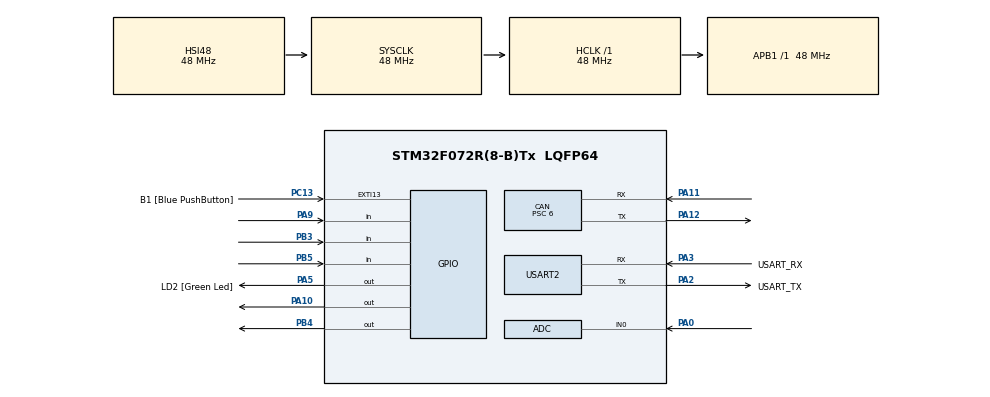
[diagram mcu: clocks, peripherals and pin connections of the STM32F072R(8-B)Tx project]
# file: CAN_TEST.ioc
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ADC.SamplingTime=ADC_SAMPLETIME_239CYCLES_5
CAN.BS1=CAN_BS1_11TQ
CAN.BS2=CAN_BS2_4TQ
CAN.CalculateBaudRate=500000
CAN.CalculateTimeBit=2000
CAN.CalculateTimeQuantum=125.0
CAN.NART=ENABLE
CAN.Prescaler=6
Mcu.Family=STM32F0
Mcu.Name=STM32F072R(8-B)Tx
Mcu.Package=LQFP64
NVIC.CEC_CAN_IRQn=true\:0\:0\:false\:false\:true\:true\:true\:true
PA0.Mode=IN0
PA0.Signal=ADC_IN0
PA10.GPIO_Speed=GPIO_SPEED_FREQ_HIGH
PA10.Signal=GPIO_Output
PA11.Mode=CAN_Activate
PA11.Signal=CAN_RX
PA12.Mode=CAN_Activate
PA12.Signal=CAN_TX
PA13.GPIO_Label=TMS
PA13.Mode=Serial_Wire
PA13.Signal=SYS_SWDIO
PA14.GPIO_Label=TCK
PA14.Mode=Serial_Wire
PA14.Signal=SYS_SWCLK
PA2.GPIO_Label=USART_TX
PA2.GPIO_Mode=GPIO_MODE_AF_PP
PA2.GPIO_PuPd=GPIO_NOPULL
PA2.GPIO_Speed=GPIO_SPEED_FREQ_LOW
PA2.Mode=Asynchronous
PA2.Signal=USART2_TX
PA3.GPIO_Label=USART_RX
PA3.GPIO_Mode=GPIO_MODE_AF_PP
PA3.GPIO_PuPd=GPIO_NOPULL
PA3.GPIO_Speed=GPIO_SPEED_FREQ_LOW
PA3.Mode=Asynchronous
PA3.Signal=USART2_RX
PA5.GPIO_Label=LD2 [Green Led]
PA5.GPIO_Mode=GPIO_MODE_OUTPUT_PP
PA5.GPIO_PuPd=GPIO_NOPULL
PA5.GPIO_Speed=GPIO_SPEED_FREQ_LOW
PA5.Signal=GPIO_Output
PA9.GPIO_PuPd=GPIO_PULLUP
PA9.Signal=GPIO_Input
PB3.Signal=GPIO_Input
PB4.GPIO_Speed=GPIO_SPEED_FREQ_HIGH
PB4.Signal=GPIO_Output
PB5.Signal=GPIO_Input
PC13.GPIO_Label=B1 [Blue PushButton]
PC13.GPIO_ModeDefaultEXTI=GPIO_MODE_IT_FALLING
PC13.Signal=GPXTI13
PC14-OSC32_IN.Mode=LSE-External-Oscillator
PC14-OSC32_IN.Signal=RCC_OSC32_IN
PC15-OSC32_OUT.Mode=LSE-External-Oscillator
PC15-OSC32_OUT.Signal=RCC_OSC32_OUT
PF0-OSC_IN.Mode=HSE-External-Clock-Source
PF0-OSC_IN.Signal=RCC_OSC_IN
PF1-OSC_OUT.Signal=RCC_OSC_OUT
ProjectManager.HeapSize=0x200
ProjectManager.StackSize=0x400
ProjectManager.TargetToolchain=MDK-ARM V5.32
RCC.AHBFreq_Value=48000000
RCC.APB1Freq_Value=48000000
RCC.APB1TimFreq_Value=48000000
RCC.FLatency-AdvancedSettings=FLASH_LATENCY_1
RCC.HCLKFreq_Value=48000000
RCC.PLLDivider=RCC_PREDIV_DIV2
RCC.PLLMUL=RCC_PLL_MUL12
RCC.PREFETCH_ENABLE-AdvancedSettings=1
RCC.SYSCLKFreq_VALUE=48000000
RCC.SYSCLKSource=RCC_SYSCLKSOURCE_HSI48
TIM1.Prescaler=47
USART2.VirtualMode=VM_ASYNC
USART2.VirtualMode-Asynchronous=VM_ASYNC
VP_TIM1_VS_ClockSourceINT.Mode=Internal
board=NUCLEO-F072RB

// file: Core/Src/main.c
/* USER CODE BEGIN Header */
/**
  ******************************************************************************
  * @file           : main.c
  * @brief          : Main program body
  ******************************************************************************
  * @attention
  *
  * Copyright (c) 2026 STMicroelectronics.
  * All rights reserved.
  *
  * This software is licensed under terms that can be found in the LICENSE file
  * in the root directory of this software component.
  * If no LICENSE file comes with this software, it is provided AS-IS.
  *
  ******************************************************************************
  */
/* USER CODE END Header */
#include "main.h"

/* USER CODE BEGIN Includes */
#include "can.h"
#include "sensor.h"
/* USER CODE END Includes */

ADC_HandleTypeDef hadc;

CAN_HandleTypeDef hcan;

TIM_HandleTypeDef htim1;

UART_HandleTypeDef huart2;

void SystemClock_Config(void);
static void MX_GPIO_Init(void);
static void MX_CAN_Init(void);
static void MX_USART2_UART_Init(void);
static void MX_ADC_Init(void);
static void MX_TIM1_Init(void);

/* USER CODE BEGIN 0 */
volatile uint16_t water_adc   = 0;
volatile uint8_t  fire_detect = 0;
volatile uint8_t  tilt_detect = 0;
volatile int32_t  distance_back = 0;
volatile int32_t  distance_side = 0;
volatile GPIO_PinState echo_pin = GPIO_PIN_RESET;
volatile uint32_t pclk_freq = 0;
volatile uint32_t tim_counter = 0;
volatile uint8_t ultra_step = 0;
/* USER CODE END 0 */

int main(void)
{

  /* MCU Configuration--------------------------------------------------------*/

  /* Reset of all peripherals, Initializes the Flash interface and the Systick. */
  HAL_Init();

  /* Configure the system clock */
  SystemClock_Config();

  /* Initialize all configured peripherals */
  MX_GPIO_Init();
  MX_CAN_Init();
  MX_USART2_UART_Init();
  MX_ADC_Init();
  MX_TIM1_Init();
  /* USER CODE BEGIN 2 */
	HAL_CAN_Start(&hcan);
	HAL_TIM_Base_Start(&htim1);
	HAL_ADCEx_Calibration_Start(&hadc);
  /* USER CODE END 2 */

  /* Infinite loop */
  /* USER CODE BEGIN WHILE */
  while (1)
  {
		water_adc   = Water_ReadLevel();
		tilt_detect = Tilt_IsDetected();
		distance_back = Ultra_Measure(ULTRA_TRIG_PORT, ULTRA_TRIG_PIN, ULTRA_ECHO_PORT, ULTRA_ECHO_PIN);
		HAL_Delay(100);
		distance_side = Ultra_Measure(ULTRA2_TRIG_PORT, ULTRA2_TRIG_PIN, ULTRA2_ECHO_PORT, ULTRA2_ECHO_PIN);
		echo_pin    = HAL_GPIO_ReadPin(ULTRA_ECHO_PORT, ULTRA_ECHO_PIN);
		tim_counter = __HAL_TIM_GET_COUNTER(&htim1);

		CAN_SendDistanceSensors();
		if (water_adc >= WATER_LEVEL_MID) CAN_Transmit(CAN_ID_FLOOD_DETECTION, NULL, 0);
		if (tilt_detect == 1) CAN_Transmit(CAN_ID_ROLLOVER_DETECTION, NULL, 0);
    /* USER CODE END WHILE */

  }
}

void SystemClock_Config(void)
{
  RCC_OscInitTypeDef RCC_OscInitStruct = {0};
  RCC_ClkInitTypeDef RCC_ClkInitStruct = {0};
  RCC_PeriphCLKInitTypeDef PeriphClkInit = {0};

  /** Initializes the RCC Oscillators according to the specified parameters
  * in the RCC_OscInitTypeDef structure.
  */
  RCC_OscInitStruct.OscillatorType = RCC_OSCILLATORTYPE_HSI14|RCC_OSCILLATORTYPE_HSI48;
  RCC_OscInitStruct.HSI48State = RCC_HSI48_ON;
  RCC_OscInitStruct.HSI14State = RCC_HSI14_ON;
  RCC_OscInitStruct.HSI14CalibrationValue = 16;
  RCC_OscInitStruct.PLL.PLLState = RCC_PLL_NONE;
  if (HAL_RCC_OscConfig(&RCC_OscInitStruct) != HAL_OK)
  {
    Error_Handler();
  }

  /** Initializes the CPU, AHB and APB buses clocks
  */
  RCC_ClkInitStruct.ClockType = RCC_CLOCKTYPE_HCLK|RCC_CLOCKTYPE_SYSCLK
                              |RCC_CLOCKTYPE_PCLK1;
  RCC_ClkInitStruct.SYSCLKSource = RCC_SYSCLKSOURCE_HSI48;
  RCC_ClkInitStruct.AHBCLKDivider = RCC_SYSCLK_DIV1;
  RCC_ClkInitStruct.APB1CLKDivider = RCC_HCLK_DIV1;

  if (HAL_RCC_ClockConfig(&RCC_ClkInitStruct, FLASH_LATENCY_1) != HAL_OK)
  {
    Error_Handler();
  }
  PeriphClkInit.PeriphClockSelection = RCC_PERIPHCLK_USART2;
  PeriphClkInit.Usart2ClockSelection = RCC_USART2CLKSOURCE_PCLK1;
  if (HAL_RCCEx_PeriphCLKConfig(&PeriphClkInit) != HAL_OK)
  {
    Error_Handler();
  }
}

static void MX_ADC_Init(void)
{

  ADC_ChannelConfTypeDef sConfig = {0};

  /** Configure the global features of the ADC (Clock, Resolution, Data Alignment and number of conversion)
  */
  hadc.Instance = ADC1;
  hadc.Init.ClockPrescaler = ADC_CLOCK_ASYNC_DIV1;
  hadc.Init.Resolution = ADC_RESOLUTION_12B;
  hadc.Init.DataAlign = ADC_DATAALIGN_RIGHT;
  hadc.Init.ScanConvMode = ADC_SCAN_DIRECTION_FORWARD;
  hadc.Init.EOCSelection = ADC_EOC_SINGLE_CONV;
  hadc.Init.LowPowerAutoWait = DISABLE;
  hadc.Init.LowPowerAutoPowerOff = DISABLE;
  hadc.Init.ContinuousConvMode = DISABLE;
  hadc.Init.DiscontinuousConvMode = DISABLE;
  hadc.Init.ExternalTrigConv = ADC_SOFTWARE_START;
  hadc.Init.ExternalTrigConvEdge = ADC_EXTERNALTRIGCONVEDGE_NONE;
  hadc.Init.DMAContinuousRequests = DISABLE;
  hadc.Init.Overrun = ADC_OVR_DATA_PRESERVED;
  if (HAL_ADC_Init(&hadc) != HAL_OK)
  {
    Error_Handler();
  }

  /** Configure for the selected ADC regular channel to be converted.
  */
  sConfig.Channel = ADC_CHANNEL_0;
  sConfig.Rank = ADC_RANK_CHANNEL_NUMBER;
  sConfig.SamplingTime = ADC_SAMPLETIME_239CYCLES_5;
  if (HAL_ADC_ConfigChannel(&hadc, &sConfig) != HAL_OK)
  {
    Error_Handler();
  }

}

static void MX_CAN_Init(void)
{

  hcan.Instance = CAN;
  hcan.Init.Prescaler = 6;
  hcan.Init.Mode = CAN_MODE_NORMAL;
  hcan.Init.SyncJumpWidth = CAN_SJW_1TQ;
  hcan.Init.TimeSeg1 = CAN_BS1_11TQ;
  hcan.Init.TimeSeg2 = CAN_BS2_4TQ;
  hcan.Init.TimeTriggeredMode = DISABLE;
  hcan.Init.AutoBusOff = DISABLE;
  hcan.Init.AutoWakeUp = DISABLE;
  hcan.Init.AutoRetransmission = ENABLE;
  hcan.Init.ReceiveFifoLocked = DISABLE;
  hcan.Init.TransmitFifoPriority = DISABLE;
  if (HAL_CAN_Init(&hcan) != HAL_OK)
  {
    Error_Handler();
  }

}

static void MX_TIM1_Init(void)
{

  TIM_ClockConfigTypeDef sClockSourceConfig = {0};
  TIM_MasterConfigTypeDef sMasterConfig = {0};

  htim1.Instance = TIM1;
  htim1.Init.Prescaler = 47;
  htim1.Init.CounterMode = TIM_COUNTERMODE_UP;
  htim1.Init.Period = 65535;
  htim1.Init.ClockDivision = TIM_CLOCKDIVISION_DIV1;
  htim1.Init.RepetitionCounter = 0;
  htim1.Init.AutoReloadPreload = TIM_AUTORELOAD_PRELOAD_DISABLE;
  if (HAL_TIM_Base_Init(&htim1) != HAL_OK)
  {
    Error_Handler();
  }
  sClockSourceConfig.ClockSource = TIM_CLOCKSOURCE_INTERNAL;
  if (HAL_TIM_ConfigClockSource(&htim1, &sClockSourceConfig) != HAL_OK)
  {
    Error_Handler();
  }
  sMasterConfig.MasterOutputTrigger = TIM_TRGO_RESET;
  sMasterConfig.MasterSlaveMode = TIM_MASTERSLAVEMODE_DISABLE;
  if (HAL_TIMEx_MasterConfigSynchronization(&htim1, &sMasterConfig) != HAL_OK)
  {
    Error_Handler();
  }

}

static void MX_USART2_UART_Init(void)
{

  huart2.Instance = USART2;
  huart2.Init.BaudRate = 38400;
  huart2.Init.WordLength = UART_WORDLENGTH_8B;
  huart2.Init.StopBits = UART_STOPBITS_1;
  huart2.Init.Parity = UART_PARITY_NONE;
  huart2.Init.Mode = UART_MODE_TX_RX;
  huart2.Init.HwFlowCtl = UART_HWCONTROL_NONE;
  huart2.Init.OverSampling = UART_OVERSAMPLING_16;
  huart2.Init.OneBitSampling = UART_ONE_BIT_SAMPLE_DISABLE;
  huart2.AdvancedInit.AdvFeatureInit = UART_ADVFEATURE_NO_INIT;
  if (HAL_UART_Init(&huart2) != HAL_OK)
  {
    Error_Handler();
  }

}

static void MX_GPIO_Init(void)
{
  GPIO_InitTypeDef GPIO_InitStruct = {0};

  /* GPIO Ports Clock Enable */
  __HAL_RCC_GPIOC_CLK_ENABLE();
  __HAL_RCC_GPIOF_CLK_ENABLE();
  __HAL_RCC_GPIOA_CLK_ENABLE();
  __HAL_RCC_GPIOB_CLK_ENABLE();

  /*Configure GPIO pin Output Level */
  HAL_GPIO_WritePin(GPIOA, LD2_Pin|GPIO_PIN_10, GPIO_PIN_RESET);

  /*Configure GPIO pin Output Level */
  HAL_GPIO_WritePin(GPIOB, GPIO_PIN_4, GPIO_PIN_RESET);

  /*Configure GPIO pin : B1_Pin */
  GPIO_InitStruct.Pin = B1_Pin;
  GPIO_InitStruct.Mode = GPIO_MODE_IT_FALLING;
  GPIO_InitStruct.Pull = GPIO_NOPULL;
  HAL_GPIO_Init(B1_GPIO_Port, &GPIO_InitStruct);

  /*Configure GPIO pin : LD2_Pin */
  GPIO_InitStruct.Pin = LD2_Pin;
  GPIO_InitStruct.Mode = GPIO_MODE_OUTPUT_PP;
  GPIO_InitStruct.Pull = GPIO_NOPULL;
  GPIO_InitStruct.Speed = GPIO_SPEED_FREQ_LOW;
  HAL_GPIO_Init(LD2_GPIO_Port, &GPIO_InitStruct);

  /*Configure GPIO pin : PA9 */
  GPIO_InitStruct.Pin = GPIO_PIN_9;
  GPIO_InitStruct.Mode = GPIO_MODE_INPUT;
  GPIO_InitStruct.Pull = GPIO_PULLUP;
  HAL_GPIO_Init(GPIOA, &GPIO_InitStruct);

  /*Configure GPIO pin : PA10 */
  GPIO_InitStruct.Pin = GPIO_PIN_10;
  GPIO_InitStruct.Mode = GPIO_MODE_OUTPUT_PP;
  GPIO_InitStruct.Pull = GPIO_NOPULL;
  GPIO_InitStruct.Speed = GPIO_SPEED_FREQ_HIGH;
  HAL_GPIO_Init(GPIOA, &GPIO_InitStruct);

  /*Configure GPIO pins : PB3 PB5 */
  GPIO_InitStruct.Pin = GPIO_PIN_3|GPIO_PIN_5;
  GPIO_InitStruct.Mode = GPIO_MODE_INPUT;
  GPIO_InitStruct.Pull = GPIO_NOPULL;
  HAL_GPIO_Init(GPIOB, &GPIO_InitStruct);

  /*Configure GPIO pin : PB4 */
  GPIO_InitStruct.Pin = GPIO_PIN_4;
  GPIO_InitStruct.Mode = GPIO_MODE_OUTPUT_PP;
  GPIO_InitStruct.Pull = GPIO_NOPULL;
  GPIO_InitStruct.Speed = GPIO_SPEED_FREQ_HIGH;
  HAL_GPIO_Init(GPIOB, &GPIO_InitStruct);

}

void Error_Handler(void)
{
  __disable_irq();
  while (1)
  {
  }
}
